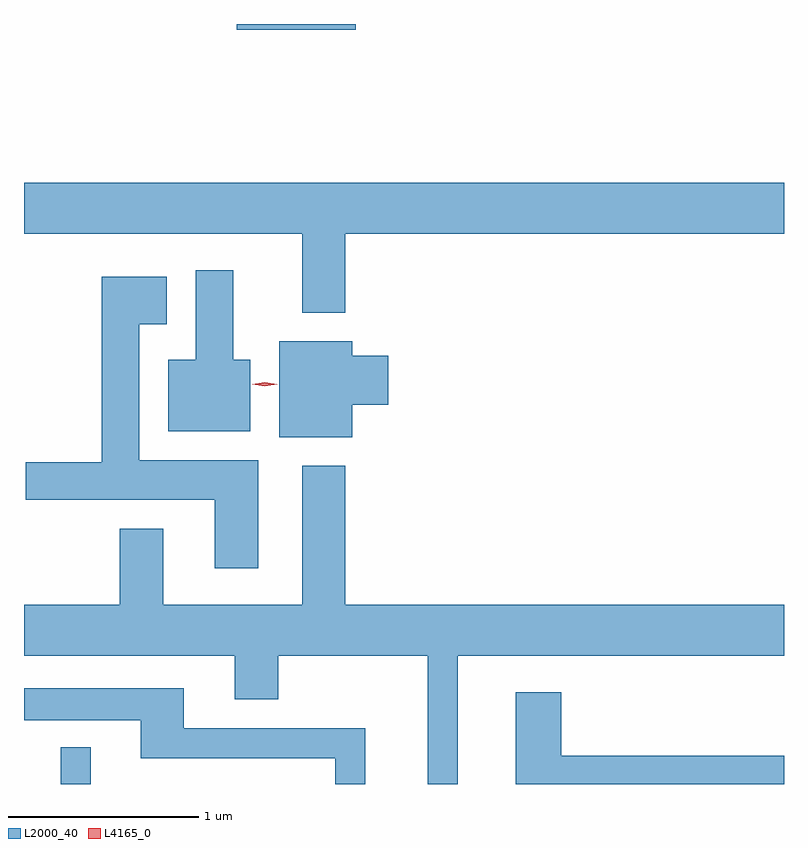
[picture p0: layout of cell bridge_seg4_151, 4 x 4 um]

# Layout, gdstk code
import gdstk
lib = gdstk.Library(unit=1e-6, precision=1e-09)
def R(c, l, rs):  # rectangles x0, y0, x1, y1
    for r in rs: c.add(gdstk.rectangle(r[:2], r[2:], *l))
def P(c, l, *ps):  # polygons
    for p in ps: c.add(gdstk.Polygon(p, *l))
L2000_40 = (2000, 40)
L4165_0 = (4165, 0)

bridge_seg4_151 = lib.new_cell('bridge_seg4_151')
R(bridge_seg4_151, L2000_40, [(883.671,1278.52,883.829,1278.713), (884.596,1282.491,885.224,1282.52)])
P(bridge_seg4_151, L2000_40, [(885.169,1281.416),(887.477,1281.416),(887.477,1281.684),(883.477,1281.684),(883.477,1281.416),(884.941,1281.416),(884.941,1281.001),(885.169,1281.001)],
  [(884.669,1280.754),(884.579,1280.754),(884.579,1281.224),(884.381,1281.224),(884.381,1280.754),(884.236,1280.754),(884.236,1280.376),(884.669,1280.376)],
  [(884.709,1280.224),(884.084,1280.224),(884.084,1280.941),(884.229,1280.941),(884.229,1281.189),(883.886,1281.189),(883.886,1280.214),(883.486,1280.214),(883.486,1280.016),(884.481,1280.016),(884.481,1279.656),(884.709,1279.656)],
  [(885.204,1280.516),(885.394,1280.516),(885.394,1280.774),(885.204,1280.774),(885.204,1280.849),(884.821,1280.849),(884.821,1280.346),(885.204,1280.346)],
  [(884.209,1279.864),(883.981,1279.864),(883.981,1279.464),(883.477,1279.464),(883.477,1279.196),(884.586,1279.196),(884.586,1278.966),(884.814,1278.966),(884.814,1279.196),(885.601,1279.196),(885.601,1278.52),(885.759,1278.52),(885.759,1279.196),(887.477,1279.196),(887.477,1279.464),(885.169,1279.464),(885.169,1280.194),(884.941,1280.194),(884.941,1279.464),(884.209,1279.464)],
  [(885.274,1278.814),(884.319,1278.814),(884.319,1279.024),(883.477,1279.024),(883.477,1278.856),(884.091,1278.856),(884.091,1278.656),(885.116,1278.656),(885.116,1278.52),(885.274,1278.52)],
  [(887.477,1278.669),(886.304,1278.669),(886.304,1279.004),(886.066,1279.004),(886.066,1278.52),(887.477,1278.52)])
P(bridge_seg4_151, L4165_0, [(884.744,1280.614),(884.678,1280.624),(884.677,1280.624),(884.678,1280.625),(884.744,1280.634),(884.811,1280.625),(884.811,1280.624),(884.811,1280.624)])

lib.write_gds('bridge_seg4_151.gds')
